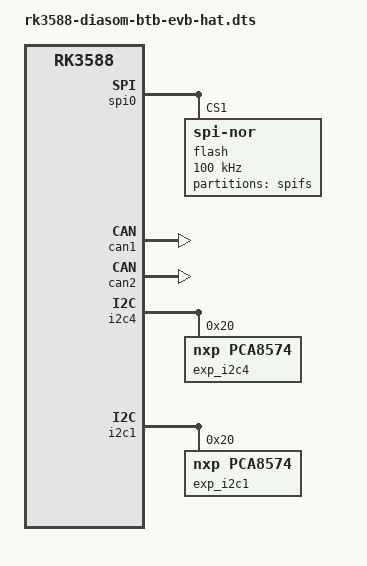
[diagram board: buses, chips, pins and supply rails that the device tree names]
/dts-v1/;
/plugin/;

#include <dt-bindings/gpio/gpio.h>
#include <dt-bindings/pinctrl/rockchip.h>

/ {
	compatible = "diasom,btb-evb", "rockchip,rk3588";

	fragment@0 {
        target-path = "/";
        __overlay__ {
            aliases {
                gpio6 = &exp_i2c4;
            };
        };
    };

	fragment@1 {
		target = <&spi0>;
		__overlay__ {
			status = "okay";
			#address-cells = <1>;
    		#size-cells = <0>;
			flash@1 {
				compatible = "jedec,spi-nor";
				reg = <1>;
				spi-max-frequency = <100000>;
				spi-rx-bus-width = <1>;
				spi-tx-bus-width = <1>;

				partitions {
					compatible = "fixed-partitions";
					#address-cells = <1>;
					#size-cells = <1>;

					loader@0 {
						label = "spifs";
						reg = <0x0 0x00400000>;
					};
				};         
			};
		};
	};

	fragment@2 {
		target = <&can1>;
		__overlay__ {
			status = "okay";
		};
	};

	fragment@3 {
		target = <&can2>;
		__overlay__ {
			status = "okay";
		};
	};



	fragment@4 {
		target = <&i2c4>;
		
		__overlay__ {
			#address-cells = <1>;
    		#size-cells = <0>;
			status = "okay";
			exp_i2c4: gpio@20 {
				compatible = "nxp,pca8574";
				reg = <0x20>;
				gpio-controller;
                #gpio-cells = <2>;
				gpio-line-names =
				/* P0_0-7 */
					"gpio0", "gpio1", "gpio2", "gpio3",
					"gpio4", "gpio5", "gpio6", "gpio7";
			};
		};
	};

	fragment@5 {
		target = <&i2c1>;
		__overlay__ {
			status = "okay";
		};
	};

	fragment@6 {
		target = <&hdmirx_ctrler>;
		__overlay__ {
			hdmirx-det-gpios = <&gpio3 RK_PC1 GPIO_ACTIVE_LOW>;
		};
	};

	fragment@7 {
		target = <&i2c1>;
		
		__overlay__ {
			#address-cells = <1>;
    		#size-cells = <0>;
			status = "okay";
			exp_i2c1: gpio@20 {
				compatible = "nxp,pca8574";
				reg = <0x20>;
				gpio-controller;
                #gpio-cells = <2>;
				gpio-line-names =
				/* P0_0-7 */
					"gpio0", "gpio1", "gpio2", "gpio3",
					"gpio4", "gpio5", "gpio6", "gpio7";
			};
		};
	};

	fragment@8 {
		target = <&pinctrl>;
		
		__overlay__ {
			hdmirx {
				hdmirx_det: hdmirx-det {
					rockchip,pins = <3 RK_PC1 RK_FUNC_GPIO &pcfg_pull_none>;
				};
			};
		};
	};

};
